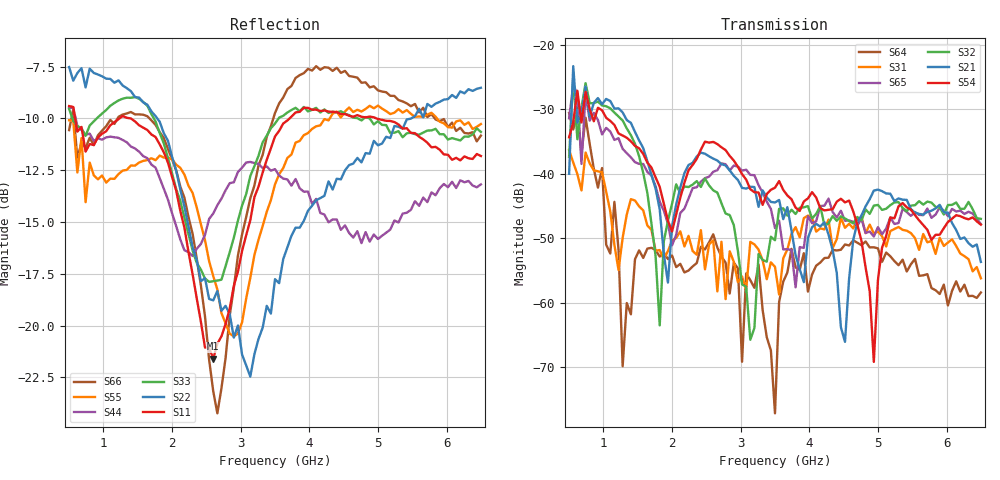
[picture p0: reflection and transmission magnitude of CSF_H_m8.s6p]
!Keysight Technologies,M9804A,MY58100912,A.14.10.03
!Date: Thursday, April 27, 2023 10:28:33
!Correction: S11(C  6-Port  )
!S12(C  6-Port  )
!S13(C  6-Port  )
!S14(C  6-Port  )
!S15(C  6-Port  )
!S16(C  6-Port  )
!S21(C  6-Port  )
!S22(C  6-Port  )
!S23(C  6-Port  )
!S24(C  6-Port  )
!S25(C  6-Port  )
!S26(C  6-Port  )
!S31(C  6-Port  )
!S32(C  6-Port  )
!S33(C  6-Port  )
!S34(C  6-Port  )
!S35(C  6-Port  )
!S36(C  6-Port  )
!S41(C  6-Port  )
!S42(C  6-Port  )
!S43(C  6-Port  )
!S44(C  6-Port  )
!S45(C  6-Port  )
!S46(C  6-Port  )
!S51(C  6-Port  )
!S52(C  6-Port  )
!S53(C  6-Port  )
!S54(C  6-Port  )
!S55(C  6-Port  )
!S56(C  6-Port  )
!S61(C  6-Port  )
!S62(C  6-Port  )
!S63(C  6-Port  )
!S64(C  6-Port  )
!S65(C  6-Port  )
!S66(C  6-Port  )
!S6P File: Measurement: :
# Hz S  RI  R 50
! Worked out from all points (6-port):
!   101 points, 500 MHz to 6.5 GHz, reference 50 ohm
!   strongest paths, dB at 500 MHz, 2 GHz, 3.5 GHz, 5 GHz, 6.5 GHz:
!     S54: -34.4, -49.0, -42.2, -56.5, -47.9
!     S21: -40.0, -48.1, -44.5, -42.5, -53.7
!     S32: -37.4, -44.7, -50.3, -44.9, -47.0
!     S65: -31.4, -51.1, -48.5, -48.3, -47.8
!     S31: -36.4, -50.4, -54.5, -49.0, -56.2
!     S64: -30.6, -52.7, -77.2, -51.6, -58.4
!   lowest |S11| = -21.6 dB at 2.6 GHz (marker M1), VSWR 1.18, Z = 42.6 + j2.05 ohm
!   |S11| at or under -10 dB: 587.5 MHz to 1.236 GHz (648.7 MHz wide, 71.1 % of centre); 1.39 GHz to 3.714 GHz (2.324 GHz wide, 91.1 % of centre); 4.975 GHz to end of sweep
